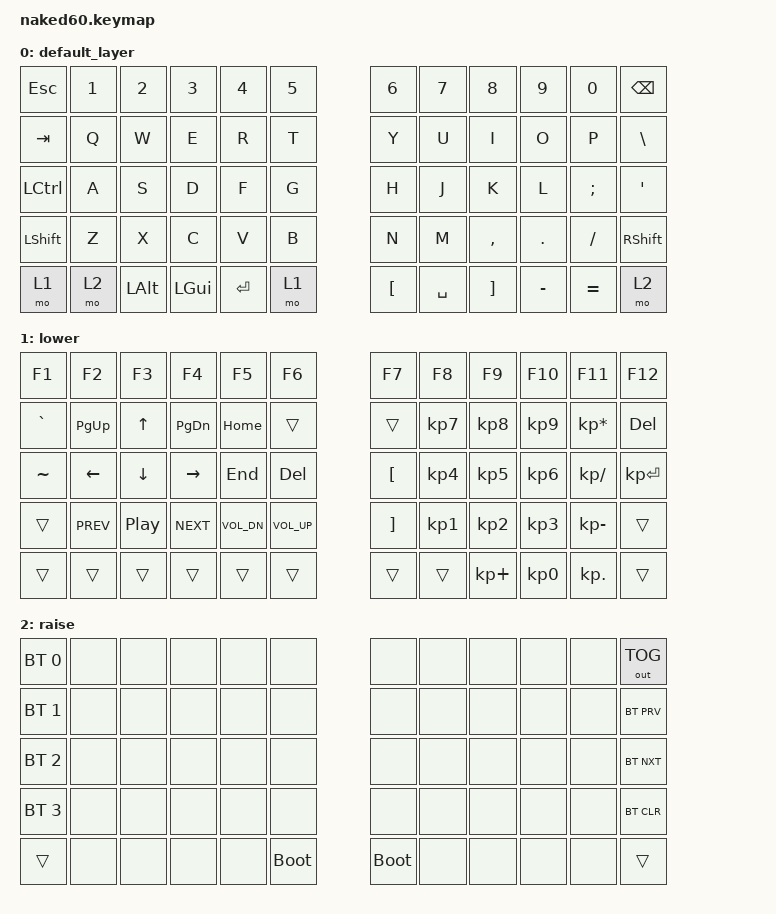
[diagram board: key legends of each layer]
/*
 * Copyright (c) 2020 The ZMK Contributors
 *
 * SPDX-License-Identifier: MIT
 */

#include <behaviors.dtsi>
#include <dt-bindings/zmk/keys.h>
#include <dt-bindings/zmk/bt.h>
#include <dt-bindings/zmk/outputs.h>


/ {
    keymap {
        compatible = "zmk,keymap";

        default_layer {
            // |  ESC  |  1   |  2   |  3   |  4   |  5   |       |       |   6   |  7    |  8   |  9   |   0   | BSPC  |
            // |-------|------|------|------|------|------|-------|-------|-------|-------|------|------|-------|-------|
            // |  TAB  |  Q   |  W   |  E   |  R   |  T   |       |       |   Y   |  U    |  I   |  O   |   P   |   \   |
            // |  LCTL |  A   |  S   |  D   |  F   |  G   |       |       |   H   |  J    |  K   |  L   |   ;   |   '   |
            // | SHIFT |  Z   |  X   |  C   |  V   |  B   |       |       |   N   |  M    |  ,   |  .   |   /   | SHIFT |
            // |       | MO(1)| MO(2)| LALT | LGUI | ENTER| MO(1) |   [   | SPACE |  ]    |  -   |  =   | MO(2) |       |


            bindings = <
                &kp ESC    &kp N1    &kp N2   &kp N3   &kp N4   &kp N5                   &kp N6    &kp N7    &kp N8    &kp N9    &kp N0    &kp BSPC
                &kp TAB    &kp Q     &kp W    &kp E    &kp R    &kp T                    &kp Y     &kp U     &kp I     &kp O     &kp P     &kp BSLH
                &kp LCTL   &kp A     &kp S    &kp D    &kp F    &kp G                    &kp H     &kp J     &kp K     &kp L     &kp SEMI  &kp SQT
                &kp LSHFT  &kp Z     &kp X    &kp C    &kp V    &kp B                    &kp N     &kp M     &kp COMMA &kp DOT   &kp FSLH  &kp RSHIFT
                           &mo 1     &mo 2    &kp LALT &kp LGUI &kp ENTER &mo 1 &kp LBKT &kp SPACE &kp RBKT  &kp MINUS &kp EQUAL &mo 2
            >;
        };

        lower {
            // |  F1   |  F2  |  F3  |  F4  |  F5  |  F6  |       |       |   F7  |  F8   |  F9  | F10  |  F11  |  F12  |
            // |-------|------|------|------|------|------|-------|-------|-------|-------|------|------|-------|-------|
            // |   `   | PGUP | UP   | PGDN | HOME |      |       |       |       | KP 7  | KP 8 | KP 9 | KP *  |  DEL  |
            // |   ~   | LEFT | DOWN | RGHT | END  | DEL  |       |       |       | KP 4  | KP 5 | KP 6 | KP /  | KPENT |
            // |       | PREV | PLY  | NEXT | VOL- | VOL+ |       |       |       | KP 1  | KP 2 | KP 3 | KP -  |       |
            // |       |      |      |      |      |      |       |       |       | KP +  | KP 0 | KP . |       |       |

            bindings = <
                &kp F1    &kp F2     &kp F3       &kp F4       &kp F5       &kp F6                         &kp F7    &kp F8       &kp F9    &kp F10    &kp F11         &kp F12
                &kp GRAVE &kp PG_UP  &kp UP       &kp PG_DN    &kp HOME     &trans                         &trans    &kp KP_N7    &kp KP_N8 &kp KP_N9  &kp KP_MULTIPLY &kp DEL
                &kp TILDE &kp LEFT   &kp DOWN     &kp RIGHT    &kp END      &kp DEL                        &kp LBKT  &kp KP_N4    &kp KP_N5 &kp KP_N6  &kp KP_DIVIDE   &kp KP_ENTER
                &trans    &kp C_PREV &kp C_PP     &kp C_NEXT   &kp C_VOL_DN &kp C_VOL_UP                   &kp RBKT  &kp KP_N1    &kp KP_N2 &kp KP_N3  &kp KP_MINUS    &trans
                          &trans     &trans       &trans       &trans       &trans       &trans  &trans    &trans    &kp KP_PLUS  &kp KP_N0 &kp KP_DOT &trans 
            >;
        };

        raise {
			// --------------------------------------------------------------------------------------------
			// |BT_SEL 0|     |     |     |     |     |------|------|     |     |     |     |     |OUT_TOG|
			// |BT_SEL 1|     |     |     |     |     |------|------|     |     |     |     |     |BT_PRV |
			// |BT_SEL 2|     |     |     |     |     |------|------|     |     |     |     |     |BT_NXT |
			// |BT_SEL 3|     |     |     |     |     |------|------|     |     |     |     |     |BT_CLR |
			// |--------|     |     |     |     |     |BOOTLD|BOOTLD|     |     |     |     |     |-------|

			bindings = <
				&bt BT_SEL 0 &none   &none  &none  &none  &none                           &none  &none  &none  &none  &none  &out OUT_TOG
				&bt BT_SEL 1 &none   &none  &none  &none  &none                           &none  &none  &none  &none  &none  &bt BT_PRV
				&bt BT_SEL 2 &none   &none  &none  &none  &none                           &none  &none  &none  &none  &none  &bt BT_NXT
				&bt BT_SEL 3 &none   &none  &none  &none  &none                           &none  &none  &none  &none  &none  &bt BT_CLR
				             &trans  &none  &none  &none  &none  &bootloader &bootloader  &none  &none  &none  &none  &trans
			>;
		};
    };
};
